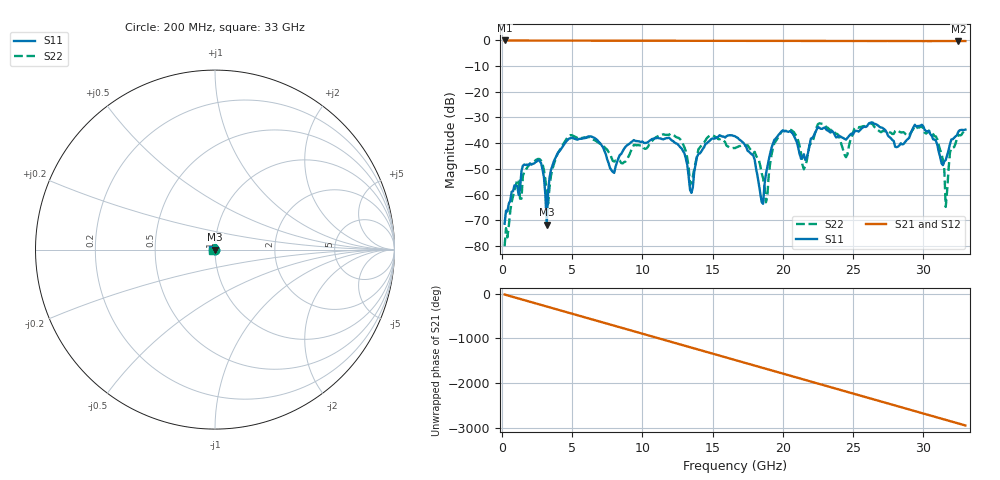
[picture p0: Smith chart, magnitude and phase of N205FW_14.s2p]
# GHZ S RI R 50
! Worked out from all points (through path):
!   329 points, 200 MHz to 33 GHz, reference 50 ohm
!   highest |S21| = -0.02 dB at 200 MHz (marker M1); lowest = -0.3 dB at 32.5 GHz (marker M2)
!   group delay of S21, straight-line fit = 248 ps
!   lowest |S11| = -71.7 dB at 3.2 GHz (marker M3), VSWR 1.00, Z = 50 - j0.0215 ohm
!   |S11| at or under -10 dB: start of sweep to end of sweep
!   |S22| runs from -80.1 to -32.3 dB; largest |S21 - S12| = 0.0022
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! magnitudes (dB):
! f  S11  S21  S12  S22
! 200 MHz  -71.4  0.0  0.0  -80.1
! 1.1 GHz  -56.7  0.0  0.0  -54.1
! 2.6 GHz  -46.6  -0.1  -0.1  -46.1
! 3.2 GHz  -71.7  -0.1  -0.1  -58.6
! 3.7 GHz  -47.1  -0.1  -0.1  -48.3
! 5.7 GHz  -38.3  -0.1  -0.1  -38.0
! 8 GHz  -51.6  -0.1  -0.1  -47.2
! 11.2 GHz  -38.1  -0.1  -0.1  -37.1
! 12.8 GHz  -42.1  -0.2  -0.2  -39.3
! 13.5 GHz  -59.3  -0.2  -0.2  -54.8
! 14.7 GHz  -39.5  -0.2  -0.2  -37.5
! 16.6 GHz  -37.3  -0.2  -0.2  -41.9
! 18.6 GHz  -63.6  -0.2  -0.2  -53.6
! 18.8 GHz  -52.1  -0.2  -0.2  -63.0
! 19.4 GHz  -38.7  -0.2  -0.2  -40.0
! 22.1 GHz  -38.0  -0.2  -0.2  -39.8
! 27.6 GHz  -37.6  -0.2  -0.2  -35.7
! 30.9 GHz  -39.0  -0.3  -0.3  -37.4
! 31.6 GHz  -46.6  -0.3  -0.3  -64.8
! 31.9 GHz  -40.4  -0.2  -0.2  -43.8
! 32.5 GHz  -35.5  -0.3  -0.3  -36.8
! 33 GHz  -34.7  -0.3  -0.3  -35.2
